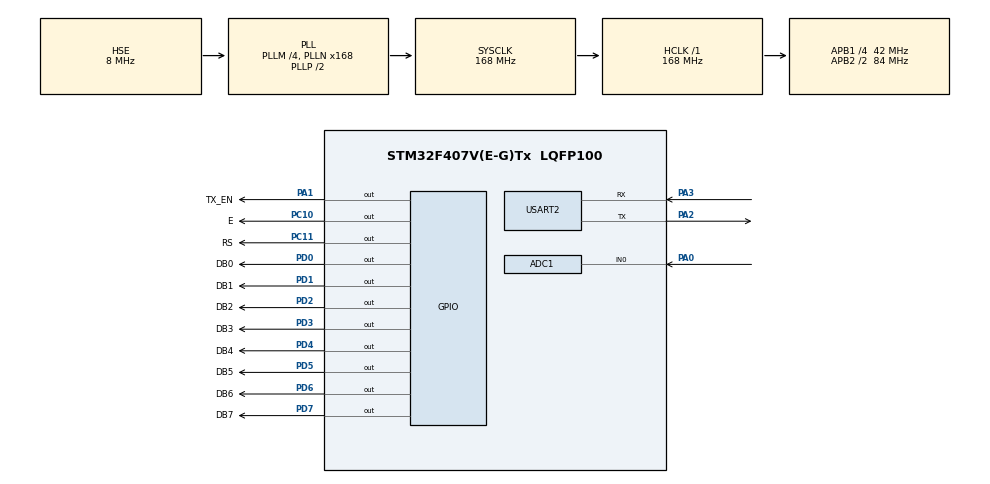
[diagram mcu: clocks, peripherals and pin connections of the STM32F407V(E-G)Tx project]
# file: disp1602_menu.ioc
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ADC1.Channel-21\#ChannelRegularConversion=ADC_CHANNEL_0
ADC1.NbrOfConversionFlag=1
ADC1.Rank-21\#ChannelRegularConversion=1
ADC1.SamplingTime-21\#ChannelRegularConversion=ADC_SAMPLETIME_3CYCLES
ADC1.master=1
Mcu.Family=STM32F4
Mcu.Name=STM32F407V(E-G)Tx
Mcu.Package=LQFP100
NVIC.PriorityGroup=NVIC_PRIORITYGROUP_4
PA0-WKUP.Signal=ADCx_IN0
PA1.GPIO_Label=TX_EN
PA1.Signal=GPIO_Output
PA13.Mode=Serial_Wire
PA13.Signal=SYS_JTMS-SWDIO
PA14.Mode=Serial_Wire
PA14.Signal=SYS_JTCK-SWCLK
PA2.Mode=Asynchronous
PA2.Signal=USART2_TX
PA3.Mode=Asynchronous
PA3.Signal=USART2_RX
PC10.GPIO_Label=E
PC10.Signal=GPIO_Output
PC11.GPIO_Label=RS
PC11.Signal=GPIO_Output
PD0.GPIO_Label=DB0
PD0.Signal=GPIO_Output
PD1.GPIO_Label=DB1
PD1.Signal=GPIO_Output
PD2.GPIO_Label=DB2
PD2.Signal=GPIO_Output
PD3.GPIO_Label=DB3
PD3.Signal=GPIO_Output
PD4.GPIO_Label=DB4
PD4.Signal=GPIO_Output
PD5.GPIO_Label=DB5
PD5.Signal=GPIO_Output
PD6.GPIO_Label=DB6
PD6.Signal=GPIO_Output
PD7.GPIO_Label=DB7
PD7.Signal=GPIO_Output
PH0-OSC_IN.Mode=HSE-External-Oscillator
PH0-OSC_IN.Signal=RCC_OSC_IN
PH1-OSC_OUT.Mode=HSE-External-Oscillator
PH1-OSC_OUT.Signal=RCC_OSC_OUT
ProjectManager.HeapSize=0x200
ProjectManager.StackSize=0x400
ProjectManager.TargetToolchain=TrueSTUDIO
RCC.48MHZClocksFreq_Value=84000000
RCC.AHBFreq_Value=168000000
RCC.APB1CLKDivider=RCC_HCLK_DIV4
RCC.APB1Freq_Value=42000000
RCC.APB1TimFreq_Value=84000000
RCC.APB2CLKDivider=RCC_HCLK_DIV2
RCC.APB2Freq_Value=84000000
RCC.APB2TimFreq_Value=168000000
RCC.CortexFreq_Value=168000000
RCC.HCLKFreq_Value=168000000
RCC.HSE_VALUE=8000000
RCC.HSI_VALUE=16000000
RCC.LSE_VALUE=32768
RCC.PLLM=4
RCC.PLLN=168
RCC.PLLSourceVirtual=RCC_PLLSOURCE_HSE
RCC.SYSCLKFreq_VALUE=168000000
RCC.SYSCLKSource=RCC_SYSCLKSOURCE_PLLCLK
RCC.VCOOutputFreq_Value=336000000
SH.ADCx_IN0.0=ADC1_IN0,IN0
USART2.VirtualMode=VM_ASYNC
board=disp1602_menu

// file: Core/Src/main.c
/**
 ******************************************************************************
 * @file           : main.c
 * @brief          : Main program body
 ******************************************************************************
 ** This notice applies to any and all portions of this file
 * that are not between comment pairs USER CODE BEGIN and
 * USER CODE END. Other portions of this file, whether
 * inserted by the user or by software development tools
 * are owned by their respective copyright owners.
 *
 * COPYRIGHT(c) 2018 STMicroelectronics
 *
 * Redistribution and use in source and binary forms, with or without modification,
 * are permitted provided that the following conditions are met:
 *   1. Redistributions of source code must retain the above copyright notice,
 *      this list of conditions and the following disclaimer.
 *   2. Redistributions in binary form must reproduce the above copyright notice,
 *      this list of conditions and the following disclaimer in the documentation
 *      and/or other materials provided with the distribution.
 *   3. Neither the name of STMicroelectronics nor the names of its contributors
 *      may be used to endorse or promote products derived from this software
 *      without specific prior written permission.
 *
 * THIS SOFTWARE IS PROVIDED BY THE COPYRIGHT HOLDERS AND CONTRIBUTORS "AS IS"
 * AND ANY EXPRESS OR IMPLIED WARRANTIES, INCLUDING, BUT NOT LIMITED TO, THE
 * IMPLIED WARRANTIES OF MERCHANTABILITY AND FITNESS FOR A PARTICULAR PURPOSE ARE
 * DISCLAIMED. IN NO EVENT SHALL THE COPYRIGHT HOLDER OR CONTRIBUTORS BE LIABLE
 * FOR ANY DIRECT, INDIRECT, INCIDENTAL, SPECIAL, EXEMPLARY, OR CONSEQUENTIAL
 * DAMAGES (INCLUDING, BUT NOT LIMITED TO, PROCUREMENT OF SUBSTITUTE GOODS OR
 * SERVICES; LOSS OF USE, DATA, OR PROFITS; OR BUSINESS INTERRUPTION) HOWEVER
 * CAUSED AND ON ANY THEORY OF LIABILITY, WHETHER IN CONTRACT, STRICT LIABILITY,
 * OR TORT (INCLUDING NEGLIGENCE OR OTHERWISE) ARISING IN ANY WAY OUT OF THE USE
 * OF THIS SOFTWARE, EVEN IF ADVISED OF THE POSSIBILITY OF SUCH DAMAGE.
 *
 ******************************************************************************
 */
#include "main.h"
#include "stm32f4xx_hal.h"
#include "adc.h"
#include "usart.h"
#include "gpio.h"

/* USER CODE BEGIN Includes */
#include "display.h"
#include "keyboard.h"
#include "menu.h"
/* USER CODE END Includes */

/* USER CODE BEGIN PV */
/* Private variables ---------------------------------------------------------*/
LCD lcd;
volatile uint8_t tempo = 0;

/* USER CODE END PV */

void SystemClock_Config(void);

/* USER CODE BEGIN PFP */
/* Private function prototypes -----------------------------------------------*/

/* USER CODE END PFP */

/* USER CODE BEGIN 0 */

void HAL_SYSTICK_Callback(void) {
	if (tempo > 20) { // se passou 20ms
		tempo = 0;
		menuDraw();
	}

	tempo++;
}

// implementacao do calback do teclado
void onKeyPressed(KEYS key) {
	if (key != KEYNONE) {
	menuSetKey(key);
	}
	/*
	switch (key) {
	case KEYNONE:
		// nenhuma tecla pressionada
		lcdWrite(&lcd, "tecla NONE", 0, 0);

		break;
	case KEY1:
		lcdWrite(&lcd, "tecla 1", 1, 1);

		break;
	case KEY2:
		lcdWrite(&lcd, "tecla 2", 1, 1);

		break;
	case KEY3:
		lcdWrite(&lcd, "tecla 3", 1, 1);

		break;
	case KEY4:
		lcdWrite(&lcd, "tecla 4", 1, 1);

		break;
	}
	*/
}

/* impleentacao dos callback do menu 1 */
void OnEnterMenu1() {

}

void OnRenderMenu1() {
	lcdWrite(&lcd, "menu 1\0", 0, 0);
}

void OnKeyMenu1(KEYS key) {
	menuGoto(1);

}

void OnExitMenu1() {

}

/* impleentacao dos callback do menu 2 */
void OnEnterMenu2() {

}

void OnRenderMenu2() {
	lcdWrite(&lcd, "menu 2\0", 0, 0);
}

void OnKeyMenu2(KEYS key) {

	menuGoto(0);
}

void OnExitMenu2() {

}

// cria uma variavel do tipo menu
MenuItem menu1 = {
		OnEnterMenu1,
		OnRenderMenu1,
		OnKeyMenu1,
		OnExitMenu1
};

MenuItem menu2 = {
		OnEnterMenu2,
		OnRenderMenu2,
		OnKeyMenu2,
		OnExitMenu2
};

/* USER CODE END 0 */

int main(void) {
	/* USER CODE BEGIN 1 */
	//char recebido[] = "AEHO\x20";
	//lcd.NeedsRedraw = 0;
	//lcd.Memory = {0, 0};
	/* USER CODE END 1 */

	/* MCU Configuration----------------------------------------------------------*/

	/* Reset of all peripherals, Initializes the Flash interface and the Systick. */
	HAL_Init();

	/* Configure the system clock */
	SystemClock_Config();

	/* Initialize all configured peripherals */
	MX_GPIO_Init();
	MX_USART2_UART_Init();
	MX_ADC1_Init();
	/* USER CODE BEGIN 2 */
	lcdInit(&lcd);
	lcdWrite(&lcd, "Kunzler\0", 1, 4);
	menuInit();
	// instala os menus
	menuSetPosition(0, &menu1);
	menuSetPosition(1, &menu2);

	menuGoto(0); // vai para a posicao 0

	keyboardInit(&onKeyPressed);
	// para o mestre
	//HAL_GPIO_WritePin(TX_EN_GPIO_Port, TX_EN_Pin, 1);

	// para escravo
	//HAL_GPIO_WritePin(TX_EN_GPIO_Port, TX_EN_Pin, 0);

	// para o mestre
	//HAL_UART_Transmit(&huart1, recebido, 1);

	//lcdWrite(&lcd, "James", 1, 6);

	//
	/* USER CODE END 2 */

	/* Infinite loop */
	while (1) {

		/* USER CODE BEGIN 3 */
		lcdRuntTime(&lcd);
		keyboardRuntime();
		menuRuntime();
		// mestre
		//HAL_UART_Transmit(&huart2, recebido, 4, 10);
		//HAL_Delay(100);

		// escravo
		//HAL_UART_Receive(&huart2, &recebido, 4, 1000);
		//lcdWrite(&lcd, &recebido, 0, 0);

	}
	/* USER CODE END 3 */

}

void SystemClock_Config(void) {

	RCC_OscInitTypeDef RCC_OscInitStruct;
	RCC_ClkInitTypeDef RCC_ClkInitStruct;

	/**Configure the main internal regulator output voltage
	 */
	__HAL_RCC_PWR_CLK_ENABLE()
	;

	__HAL_PWR_VOLTAGESCALING_CONFIG(PWR_REGULATOR_VOLTAGE_SCALE1);

	/**Initializes the CPU, AHB and APB busses clocks
	 */
	RCC_OscInitStruct.OscillatorType = RCC_OSCILLATORTYPE_HSE;
	RCC_OscInitStruct.HSEState = RCC_HSE_ON;
	RCC_OscInitStruct.PLL.PLLState = RCC_PLL_ON;
	RCC_OscInitStruct.PLL.PLLSource = RCC_PLLSOURCE_HSE;
	RCC_OscInitStruct.PLL.PLLM = 4;
	RCC_OscInitStruct.PLL.PLLN = 168;
	RCC_OscInitStruct.PLL.PLLP = RCC_PLLP_DIV2;
	RCC_OscInitStruct.PLL.PLLQ = 4;
	if (HAL_RCC_OscConfig(&RCC_OscInitStruct) != HAL_OK) {
		_Error_Handler(__FILE__, __LINE__);
	}

	/**Initializes the CPU, AHB and APB busses clocks
	 */
	RCC_ClkInitStruct.ClockType = RCC_CLOCKTYPE_HCLK | RCC_CLOCKTYPE_SYSCLK
			| RCC_CLOCKTYPE_PCLK1 | RCC_CLOCKTYPE_PCLK2;
	RCC_ClkInitStruct.SYSCLKSource = RCC_SYSCLKSOURCE_PLLCLK;
	RCC_ClkInitStruct.AHBCLKDivider = RCC_SYSCLK_DIV1;
	RCC_ClkInitStruct.APB1CLKDivider = RCC_HCLK_DIV4;
	RCC_ClkInitStruct.APB2CLKDivider = RCC_HCLK_DIV2;

	if (HAL_RCC_ClockConfig(&RCC_ClkInitStruct, FLASH_LATENCY_5) != HAL_OK) {
		_Error_Handler(__FILE__, __LINE__);
	}

	/**Configure the Systick interrupt time
	 */
	HAL_SYSTICK_Config(HAL_RCC_GetHCLKFreq() / 1000);

	/**Configure the Systick
	 */
	HAL_SYSTICK_CLKSourceConfig(SYSTICK_CLKSOURCE_HCLK);

	/* SysTick_IRQn interrupt configuration */
	HAL_NVIC_SetPriority(SysTick_IRQn, 0, 0);
}

void _Error_Handler(char *file, int line) {
	while (1) {
	}
}

/************************ (C) COPYRIGHT STMicroelectronics *****END OF FILE****/
